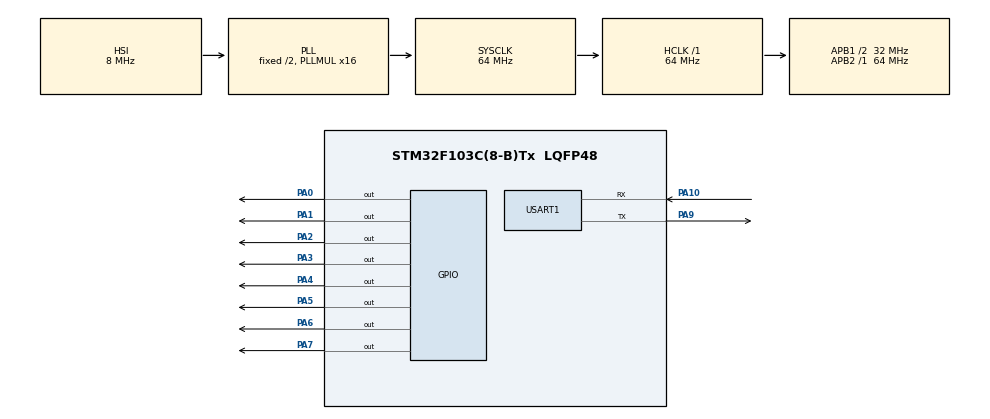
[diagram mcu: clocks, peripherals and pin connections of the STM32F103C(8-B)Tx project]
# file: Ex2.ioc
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Mcu.Family=STM32F1
Mcu.Name=STM32F103C(8-B)Tx
Mcu.Package=LQFP48
NVIC.PriorityGroup=NVIC_PRIORITYGROUP_4
NVIC.USART1_IRQn=true\:1\:0\:true\:false\:true\:true\:true\:true
PA0-WKUP.Signal=GPIO_Output
PA1.Signal=GPIO_Output
PA10.Mode=Asynchronous
PA10.Signal=USART1_RX
PA13.Mode=Serial_Wire
PA13.Signal=SYS_JTMS-SWDIO
PA14.Mode=Serial_Wire
PA14.Signal=SYS_JTCK-SWCLK
PA2.Signal=GPIO_Output
PA3.Signal=GPIO_Output
PA4.Signal=GPIO_Output
PA5.Signal=GPIO_Output
PA6.Signal=GPIO_Output
PA7.Signal=GPIO_Output
PA9.Mode=Asynchronous
PA9.Signal=USART1_TX
ProjectManager.HeapSize=0x200
ProjectManager.StackSize=0x400
ProjectManager.TargetToolchain=MDK-ARM V5.32
RCC.AHBFreq_Value=64000000
RCC.APB1CLKDivider=RCC_HCLK_DIV2
RCC.APB1Freq_Value=32000000
RCC.APB1TimFreq_Value=64000000
RCC.APB2Freq_Value=64000000
RCC.APB2TimFreq_Value=64000000
RCC.HCLKFreq_Value=64000000
RCC.PLLMUL=RCC_PLL_MUL16
RCC.SYSCLKFreq_VALUE=64000000
RCC.SYSCLKSource=RCC_SYSCLKSOURCE_PLLCLK
RCC.USBFreq_Value=64000000
USART1.VirtualMode=VM_ASYNC
board=custom

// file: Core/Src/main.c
/* USER CODE BEGIN Header */
/**
  ******************************************************************************
  * @file           : main.c
  * @brief          : Main program body
  ******************************************************************************
  * @attention
  *
  * Copyright (c) 2024 STMicroelectronics.
  * All rights reserved.
  *
  * This software is licensed under terms that can be found in the LICENSE file
  * in the root directory of this software component.
  * If no LICENSE file comes with this software, it is provided AS-IS.
  *
  ******************************************************************************
  */
/* USER CODE END Header */
#include "main.h"

/* USER CODE BEGIN Includes */
#include "string.h"
#include "C:\hoc\stm32 turtorial\stm32 co ban\Uart\UART_part2\Ex2\App\handle_cmd.h"
#include "C:\hoc\stm32 turtorial\stm32 co ban\Uart\UART_part2\Ex2\App\driver_led.h"
/* USER CODE END Includes */

UART_HandleTypeDef huart1;

void SystemClock_Config(void);
static void MX_GPIO_Init(void);
static void MX_USART1_UART_Init(void);

/* USER CODE BEGIN 0 */
// tach so tu chuoi nhan duoc
#define CMD_ON "ledon"
#define CMD_OFF "ledoff"

//char buff[50] = "ledon:2,312,0,15;ledoff:3,46,16;";
char buff_uart[50];
uint8_t uart_index = 0;
uint8_t uart_flag = 0;
char data_rx;
void HAL_UART_RxCpltCallback(UART_HandleTypeDef *huart)
{
	if(	data_rx == '\n')
	{
		buff_uart[uart_index] = '\0';
		uart_flag = 1;
	}else
	{
		buff_uart[uart_index++]= data_rx;
	}
	HAL_UART_Receive_IT(&huart1, (uint8_t*)&data_rx, 1);
}
/* USER CODE END 0 */

int main(void)
{

  /* MCU Configuration--------------------------------------------------------*/

  /* Reset of all peripherals, Initializes the Flash interface and the Systick. */
  HAL_Init();

  /* Configure the system clock */
  SystemClock_Config();

  /* Initialize all configured peripherals */
  MX_GPIO_Init();
  MX_USART1_UART_Init();
  /* USER CODE BEGIN 2 */
	HAL_UART_Receive_IT(&huart1, (uint8_t*)&data_rx, 1);

  /* USER CODE END 2 */

  /* Infinite loop */
  while (1)
  {

    /* USER CODE BEGIN 3 */
		if(uart_flag == 1)
		{
			handle_cmd(buff_uart, CMD_ON, 1);
			handle_cmd(buff_uart, CMD_OFF,0);
			memset(buff_uart, 0, uart_index);
			uart_index = 0;
			uart_flag = 0;
		}
  }
  /* USER CODE END 3 */
}

void SystemClock_Config(void)
{
  RCC_OscInitTypeDef RCC_OscInitStruct = {0};
  RCC_ClkInitTypeDef RCC_ClkInitStruct = {0};

  /** Initializes the RCC Oscillators according to the specified parameters
  * in the RCC_OscInitTypeDef structure.
  */
  RCC_OscInitStruct.OscillatorType = RCC_OSCILLATORTYPE_HSI;
  RCC_OscInitStruct.HSIState = RCC_HSI_ON;
  RCC_OscInitStruct.HSICalibrationValue = RCC_HSICALIBRATION_DEFAULT;
  RCC_OscInitStruct.PLL.PLLState = RCC_PLL_ON;
  RCC_OscInitStruct.PLL.PLLSource = RCC_PLLSOURCE_HSI_DIV2;
  RCC_OscInitStruct.PLL.PLLMUL = RCC_PLL_MUL16;
  if (HAL_RCC_OscConfig(&RCC_OscInitStruct) != HAL_OK)
  {
    Error_Handler();
  }

  /** Initializes the CPU, AHB and APB buses clocks
  */
  RCC_ClkInitStruct.ClockType = RCC_CLOCKTYPE_HCLK|RCC_CLOCKTYPE_SYSCLK
                              |RCC_CLOCKTYPE_PCLK1|RCC_CLOCKTYPE_PCLK2;
  RCC_ClkInitStruct.SYSCLKSource = RCC_SYSCLKSOURCE_PLLCLK;
  RCC_ClkInitStruct.AHBCLKDivider = RCC_SYSCLK_DIV1;
  RCC_ClkInitStruct.APB1CLKDivider = RCC_HCLK_DIV2;
  RCC_ClkInitStruct.APB2CLKDivider = RCC_HCLK_DIV1;

  if (HAL_RCC_ClockConfig(&RCC_ClkInitStruct, FLASH_LATENCY_2) != HAL_OK)
  {
    Error_Handler();
  }
}

static void MX_USART1_UART_Init(void)
{

  huart1.Instance = USART1;
  huart1.Init.BaudRate = 115200;
  huart1.Init.WordLength = UART_WORDLENGTH_8B;
  huart1.Init.StopBits = UART_STOPBITS_1;
  huart1.Init.Parity = UART_PARITY_NONE;
  huart1.Init.Mode = UART_MODE_TX_RX;
  huart1.Init.HwFlowCtl = UART_HWCONTROL_NONE;
  huart1.Init.OverSampling = UART_OVERSAMPLING_16;
  if (HAL_UART_Init(&huart1) != HAL_OK)
  {
    Error_Handler();
  }

}

static void MX_GPIO_Init(void)
{
  GPIO_InitTypeDef GPIO_InitStruct = {0};

  /* GPIO Ports Clock Enable */
  __HAL_RCC_GPIOA_CLK_ENABLE();

  /*Configure GPIO pin Output Level */
  HAL_GPIO_WritePin(GPIOA, GPIO_PIN_0|GPIO_PIN_1|GPIO_PIN_2|GPIO_PIN_3
                          |GPIO_PIN_4|GPIO_PIN_5|GPIO_PIN_6|GPIO_PIN_7, GPIO_PIN_RESET);

  /*Configure GPIO pins : PA0 PA1 PA2 PA3
                           PA4 PA5 PA6 PA7 */
  GPIO_InitStruct.Pin = GPIO_PIN_0|GPIO_PIN_1|GPIO_PIN_2|GPIO_PIN_3
                          |GPIO_PIN_4|GPIO_PIN_5|GPIO_PIN_6|GPIO_PIN_7;
  GPIO_InitStruct.Mode = GPIO_MODE_OUTPUT_PP;
  GPIO_InitStruct.Pull = GPIO_NOPULL;
  GPIO_InitStruct.Speed = GPIO_SPEED_FREQ_LOW;
  HAL_GPIO_Init(GPIOA, &GPIO_InitStruct);

}

void Error_Handler(void)
{
  __disable_irq();
  while (1)
  {
  }
}
